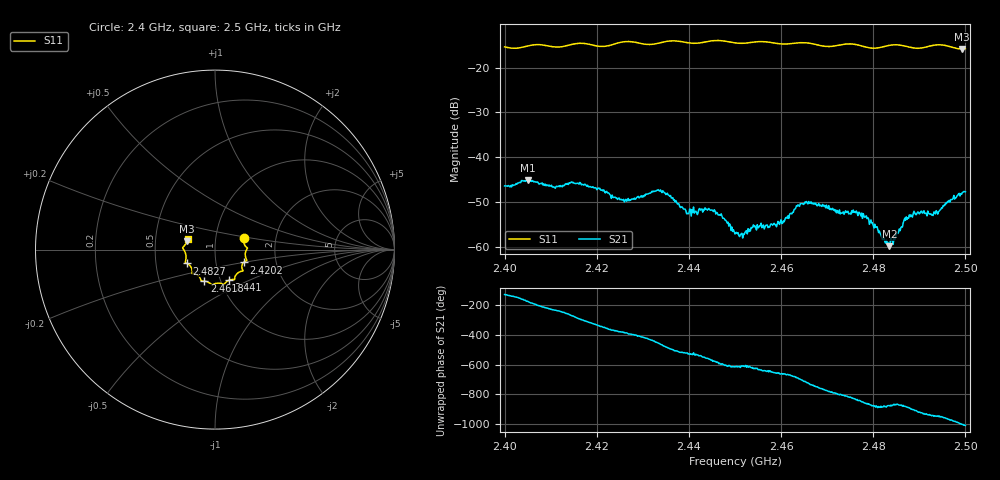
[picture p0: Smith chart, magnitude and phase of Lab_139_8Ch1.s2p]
# Hz S RI R 50
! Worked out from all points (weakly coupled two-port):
!   601 points, 2.4 GHz to 2.5 GHz, reference 50 ohm
!   highest |S21| = -45.21 dB at 2.405 GHz (marker M1); lowest = -59.9 dB at 2.4835 GHz (marker M2)
!   lowest |S11| = -15.8 dB at 2.4992 GHz (marker M3), VSWR 1.39, Z = 36.5 + j3.62 ohm
!   |S11| at or under -10 dB: start of sweep to end of sweep
!   S12 and S22 are empty: the file has one direction only
!   S11 on the Smith chart (normalised r, x): 2.4 GHz: 1.36, +0.18; 2.4202 GHz: 1.36, -0.20; 2.441 GHz: 1.10, -0.39; 2.4618 GHz: 0.84, -0.30; 2.4827 GHz: 0.72, -0.11; 2.5 GHz: 0.73, +0.09
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2.4e9  0.1589 0.0629  -0.00281 -0.00385  0 0  0 0
2.405e9  0.1746 0.0139  -0.00542 -0.000872  0 0  0 0
2.410833e9  0.17 -0.0147  -0.00284 0.0036  0 0  0 0
2.416667e9  0.1774 -0.0608  0.00206 0.00444  0 0  0 0
2.420167e9  0.1591 -0.0717  0.00394 0.00201  0 0  0 0
2.426e9  0.1558 -0.1178  0.00291 -0.00121  0 0  0 0
2.433333e9  0.1117 -0.1507  -0.000243 -0.00432  0 0  0 0
2.441e9  0.079 -0.1699  -0.00259 -0.00097  0 0  0 0
2.445167e9  0.0516 -0.1935  -0.002 0.00151  0 0  0 0
2.45e9  0.0286 -0.1874  -0.000386 0.00133  0 0  0 0
2.459167e9  -0.0336 -0.1833  0.000746 0.00161  0 0  0 0
2.461833e9  -0.0588 -0.1755  0.00144 0.00177  0 0  0 0
2.463833e9  -0.0729 -0.1755  0.00259 0.00122  0 0  0 0
2.466667e9  -0.0791 -0.1683  0.00289 -0.000854  0 0  0 0
2.478333e9  -0.1279 -0.1126  -0.00165 -0.00139  0 0  0 0
2.482667e9  -0.156 -0.0771  -0.00104 -0.000339  0 0  0 0
2.483333e9  -0.1603 -0.0751  -0.000987 -0.000438  0 0  0 0
2.4835e9  -0.1612 -0.0749  -0.000918 -0.000418  0 0  0 0
2.487333e9  -0.1628 -0.0571  -0.00196 -0.000461  0 0  0 0
2.494e9  -0.1799 0.00948  -0.00161 0.00164  0 0  0 0
2.499167e9  -0.1546 0.0483  0.0008 0.00375  0 0  0 0
2.5e9  -0.1522 0.0601  0.00141 0.00384  0 0  0 0
